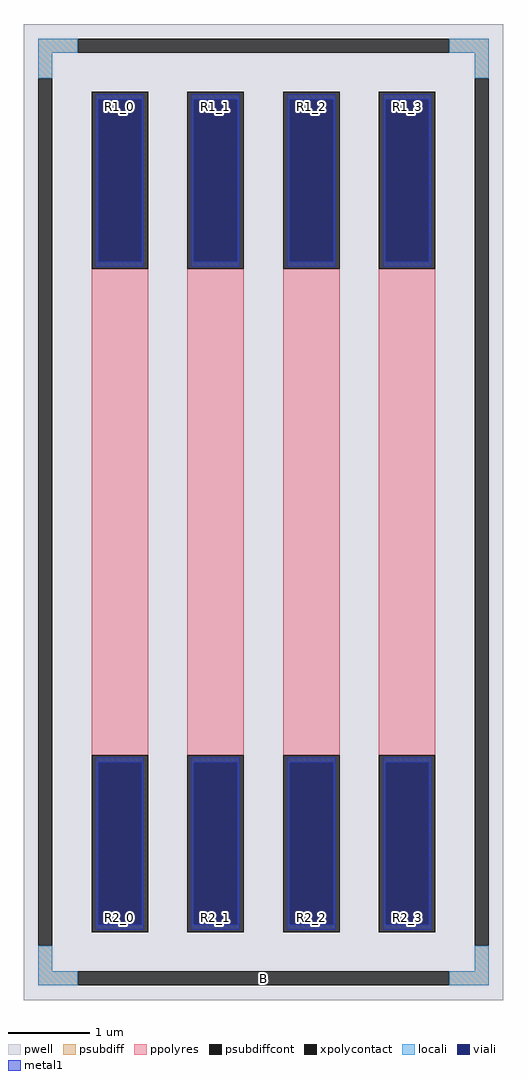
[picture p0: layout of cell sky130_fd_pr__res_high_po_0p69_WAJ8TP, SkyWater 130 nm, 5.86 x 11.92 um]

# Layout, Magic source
magic
tech sky130A
magscale 1 2
<< pwell >>
rect -586 -1192 586 1192
<< psubdiff >>
rect -550 1122 -454 1156
rect 454 1122 550 1156
rect -550 1060 -516 1122
rect 516 1060 550 1122
rect -550 -1122 -516 -1060
rect 516 -1122 550 -1060
rect -550 -1156 -454 -1122
rect 454 -1156 550 -1122
<< psubdiffcont >>
rect -454 1122 454 1156
rect -550 -1060 -516 1060
rect 516 -1060 550 1060
rect -454 -1156 454 -1122
<< xpolycontact >>
rect -420 594 -282 1026
rect -420 -1026 -282 -594
rect -186 594 -48 1026
rect -186 -1026 -48 -594
rect 48 594 186 1026
rect 48 -1026 186 -594
rect 282 594 420 1026
rect 282 -1026 420 -594
<< ppolyres >>
rect -420 -594 -282 594
rect -186 -594 -48 594
rect 48 -594 186 594
rect 282 -594 420 594
<< locali >>
rect -550 1122 -454 1156
rect 454 1122 550 1156
rect -550 1060 -516 1122
rect 516 1060 550 1122
rect -550 -1122 -516 -1060
rect 516 -1122 550 -1060
rect -550 -1156 -454 -1122
rect 454 -1156 550 -1122
<< viali >>
rect -404 611 -298 1008
rect -170 611 -64 1008
rect 64 611 170 1008
rect 298 611 404 1008
rect -404 -1008 -298 -611
rect -170 -1008 -64 -611
rect 64 -1008 170 -611
rect 298 -1008 404 -611
<< metal1 >>
rect -410 1008 -292 1020
rect -410 611 -404 1008
rect -298 611 -292 1008
rect -410 599 -292 611
rect -176 1008 -58 1020
rect -176 611 -170 1008
rect -64 611 -58 1008
rect -176 599 -58 611
rect 58 1008 176 1020
rect 58 611 64 1008
rect 170 611 176 1008
rect 58 599 176 611
rect 292 1008 410 1020
rect 292 611 298 1008
rect 404 611 410 1008
rect 292 599 410 611
rect -410 -611 -292 -599
rect -410 -1008 -404 -611
rect -298 -1008 -292 -611
rect -410 -1020 -292 -1008
rect -176 -611 -58 -599
rect -176 -1008 -170 -611
rect -64 -1008 -58 -611
rect -176 -1020 -58 -1008
rect 58 -611 176 -599
rect 58 -1008 64 -611
rect 170 -1008 176 -611
rect 58 -1020 176 -1008
rect 292 -611 410 -599
rect 292 -1008 298 -611
rect 404 -1008 410 -611
rect 292 -1020 410 -1008
<< labels >>
rlabel psubdiffcont 0 -1139 0 -1139 0 B
port 10 nsew
rlabel xpolycontact -351 991 -351 991 0 R1_0
port 11 nsew
rlabel xpolycontact -351 -991 -351 -991 0 R2_0
port 12 nsew
rlabel xpolycontact -117 991 -117 991 0 R1_1
port 13 nsew
rlabel xpolycontact -117 -991 -117 -991 0 R2_1
port 14 nsew
rlabel xpolycontact 117 991 117 991 0 R1_2
port 15 nsew
rlabel xpolycontact 117 -991 117 -991 0 R2_2
port 16 nsew
rlabel xpolycontact 351 991 351 991 0 R1_3
port 17 nsew
rlabel xpolycontact 351 -991 351 -991 0 R2_3
port 18 nsew
<< properties >>
string FIXED_BBOX -533 -1139 533 1139
string gencell sky130_fd_pr__res_high_po_0p69
string library sky130
string parameters w 0.69 l 6.1 m 1 nx 4 wmin 0.690 lmin 0.50 class resistor rho 319.8 val 3.391k dummy 0 dw 0.0 term 194.82 sterm 0.0 caplen 0 guard 1 glc 1 grc 1 gtc 1 gbc 1 compatible {sky130_fd_pr__res_high_po_0p35  sky130_fd_pr__res_high_po_0p69 sky130_fd_pr__res_high_po_1p41  sky130_fd_pr__res_high_po_2p85 sky130_fd_pr__res_high_po_5p73} snake 0 full_metal 1 wmax 0.690 n_guard 0 hv_guard 0 vias 1 viagb 0 viagt 0 viagl 0 viagr 0 doports 1
<< end >>
